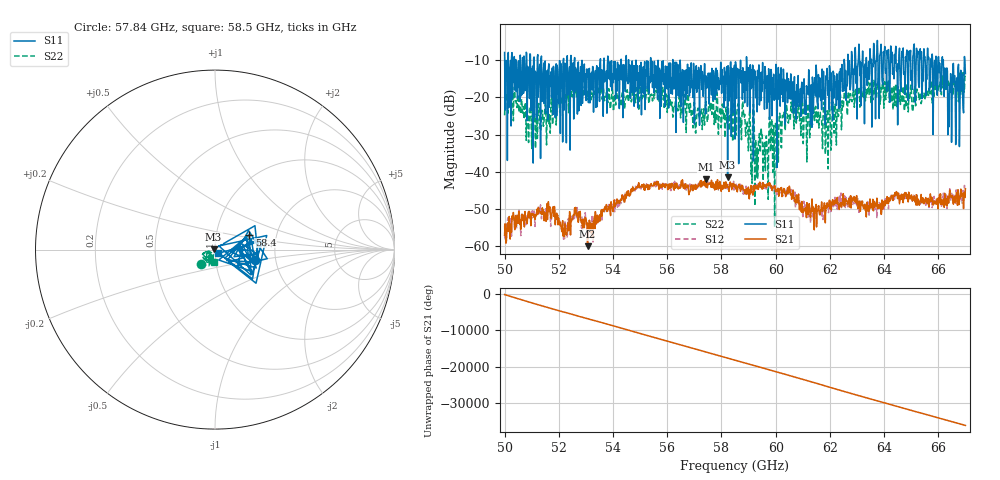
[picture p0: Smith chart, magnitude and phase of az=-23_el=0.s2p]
!Created with skrf (http://scikit-rf.org).
# GHz S RI R 50.0
!freq ReS11 ImS11 ReS21 ImS21 ReS12 ImS12 ReS22 ImS22
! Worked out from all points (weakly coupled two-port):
!   1001 points, 50 GHz to 67 GHz, reference 50 ohm
!   highest |S21| = -41.95 dB at 57.45 GHz (marker M1); lowest = -59.9 dB at 53.06 GHz (marker M2)
!   lowest |S11| = -41.4 dB at 58.23 GHz (marker M3), VSWR 1.02, Z = 49.2 + j0.158 ohm
!   |S11| at or under -10 dB: 52.59 GHz to 53.53 GHz (946.9 MHz wide, 1.78 % of centre); 56.21 GHz to 58.92 GHz (2.718 GHz wide, 4.72 % of centre); 58.93 GHz to 62.53 GHz (3.599 GHz wide, 5.93 % of centre) (the widest 3 of 61)
!   |S22| runs from -54.8 to -13.2 dB; largest |S21 - S12| = 0.0024
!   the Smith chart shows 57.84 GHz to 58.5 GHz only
!   S11 on the Smith chart (normalised r, x): 57.84 GHz: 1.55, -0.20; 58.4 GHz: 1.45, +0.25; 58.5 GHz: 1.04, -0.04
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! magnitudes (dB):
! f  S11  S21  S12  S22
! 50 GHz  -8.0  -57.0  -54.4  -24.8
! 50.15 GHz  -22.8  -54.4  -54.3  -21.1
! 51.07 GHz  -9.6  -52.1  -51.0  -26.6
! 52.24 GHz  -13.7  -56.5  -55.8  -21.3
! 52.84 GHz  -11.3  -53.6  -55.1  -19.9
! 53.06 GHz  -14.4  -59.9  -56.4  -20.0
! 55.68 GHz  -13.4  -43.1  -43.2  -21.0
! 57.45 GHz  -15.7  -42.0  -43.0  -23.2
! 57.84 GHz  -12.8  -43.8  -44.1  -18.8
! 58.23 GHz  -41.4  -44.1  -43.8  -22.7
! 58.4 GHz  -13.6  -43.2  -44.2  -25.7
! 58.5 GHz  -31.2  -43.5  -43.4  -23.1
! 58.86 GHz  -21.5  -44.9  -45.3  -24.6
! 59.32 GHz  -23.9  -44.1  -44.1  -33.6
! 60.64 GHz  -15.8  -44.9  -45.1  -22.4
! 61.34 GHz  -28.0  -47.3  -48.9  -26.4
! 62 GHz  -12.6  -49.9  -48.7  -24.0
! 62.55 GHz  -11.3  -49.1  -46.5  -18.5
! 64.18 GHz  -11.7  -46.9  -47.3  -17.5
! 66.1 GHz  -14.8  -48.8  -47.2  -18.4
! 66.44 GHz  -18.7  -46.7  -46.3  -16.4
! 67 GHz  -13.6  -44.5  -44.7  -14.6
